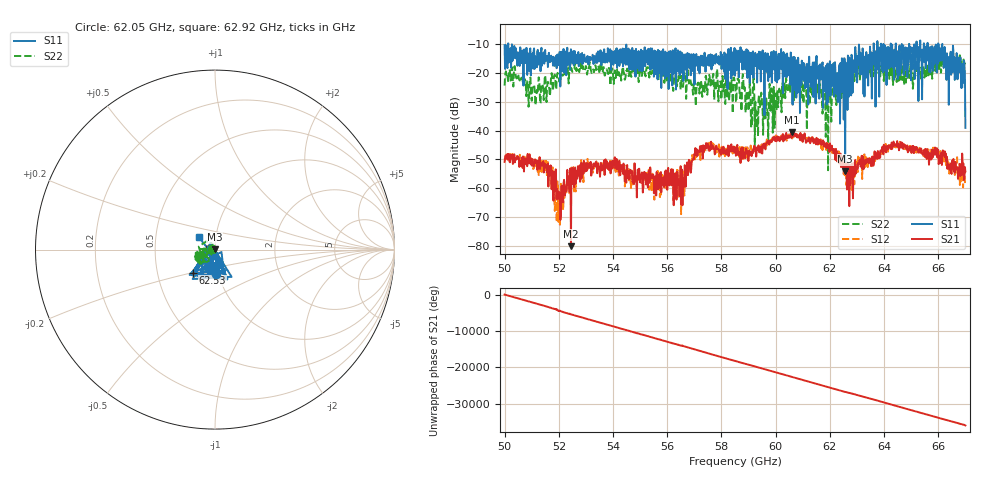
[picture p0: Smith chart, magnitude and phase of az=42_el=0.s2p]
!Created with skrf (http://scikit-rf.org).
# GHz S RI R 50.0
!freq ReS11 ImS11 ReS21 ImS21 ReS12 ImS12 ReS22 ImS22
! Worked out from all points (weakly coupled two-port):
!   1001 points, 50 GHz to 67 GHz, reference 50 ohm
!   highest |S21| = -40.53 dB at 60.61 GHz (marker M1); lowest = -80.0 dB at 52.45 GHz (marker M2)
!   lowest |S11| = -54.0 dB at 62.56 GHz (marker M3), VSWR 1.00, Z = 49.9 + j0.192 ohm
!   |S11| at or under -10 dB: 50.14 GHz to 63.62 GHz (13.48 GHz wide, 23.7 % of centre); 64.43 GHz to 64.93 GHz (492.5 MHz wide, 0.761 % of centre); 66.15 GHz to end of sweep (the widest 3 of 15)
!   |S22| runs from -53.7 to -13.9 dB; largest |S21 - S12| = 0.0029
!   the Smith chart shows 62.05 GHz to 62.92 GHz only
!   S11 on the Smith chart (normalised r, x): 62.05 GHz: 0.98, -0.27; 62.53 GHz: 0.76, -0.20; 62.92 GHz: 0.83, +0.11
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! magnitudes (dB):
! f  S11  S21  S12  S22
! 50 GHz  -10.4  -50.8  -49.6  -24.4
! 51.51 GHz  -15.8  -52.1  -53.6  -22.6
! 52.01 GHz  -17.4  -63.2  -70.1  -22.4
! 52.45 GHz  -11.8  -80.0  -61.5  -18.8
! 52.84 GHz  -14.5  -56.6  -55.2  -19.1
! 55.68 GHz  -13.8  -56.2  -56.1  -22.5
! 56.55 GHz  -18.2  -53.5  -56.2  -21.4
! 57.41 GHz  -19.6  -46.3  -47.2  -21.3
! 58.5 GHz  -21.0  -45.9  -46.9  -23.9
! 58.86 GHz  -17.1  -47.7  -47.6  -25.0
! 59.32 GHz  -23.3  -45.8  -46.2  -34.5
! 60.61 GHz  -16.0  -40.5  -42.7  -24.1
! 61.34 GHz  -25.2  -42.5  -42.3  -25.0
! 61.88 GHz  -31.0  -44.3  -45.3  -22.8
! 62.05 GHz  -17.2  -46.6  -45.5  -36.9
! 62.53 GHz  -14.9  -51.5  -53.2  -19.0
! 62.56 GHz  -54.0  -52.8  -55.5  -19.7
! 62.92 GHz  -19.0  -51.1  -53.5  -19.9
! 64.18 GHz  -18.4  -45.0  -45.6  -18.6
! 66.08 GHz  -15.6  -51.2  -47.1  -15.7
! 66.9 GHz  -16.9  -50.9  -56.0  -15.2
! 67 GHz  -39.0  -54.1  -56.5  -15.8
